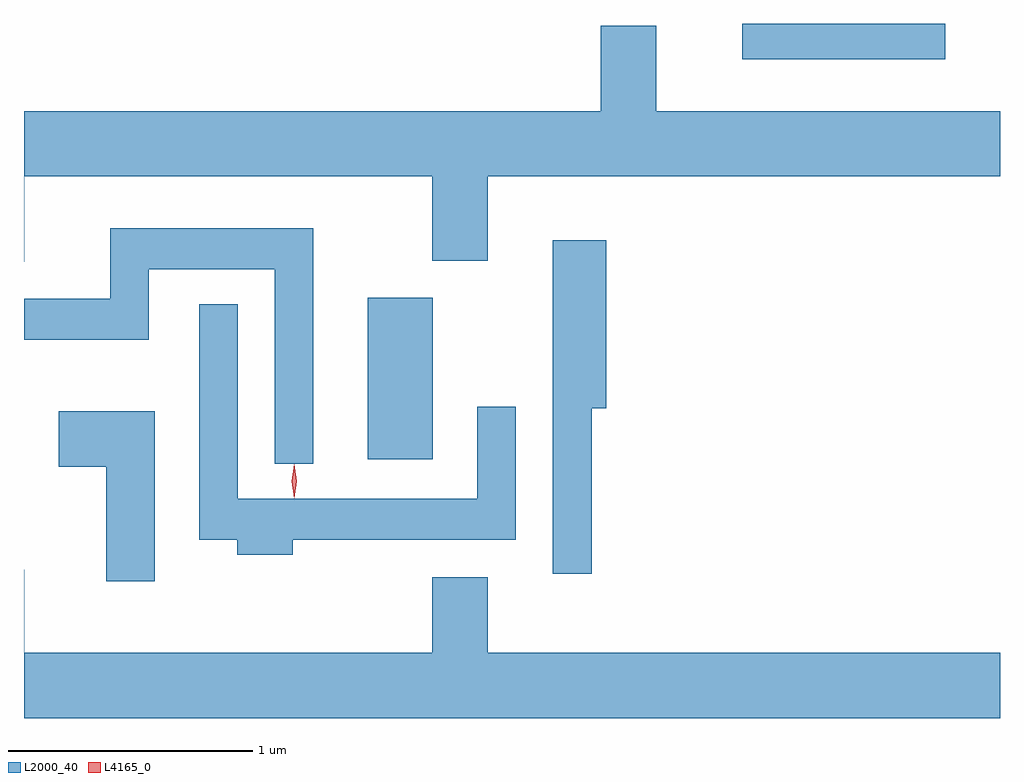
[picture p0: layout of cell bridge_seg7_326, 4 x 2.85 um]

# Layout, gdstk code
import gdstk
lib = gdstk.Library(unit=1e-6, precision=1e-09)
def R(c, l, rs):  # rectangles x0, y0, x1, y1
    for r in rs: c.add(gdstk.rectangle(r[:2], r[2:], *l))
def P(c, l, *ps):  # polygons
    for p in ps: c.add(gdstk.Polygon(p, *l))
L2000_40 = (2000, 40)
L4165_0 = (4165, 0)

bridge_seg7_326 = lib.new_cell('bridge_seg7_326')
R(bridge_seg7_326, L2000_40, [(1146.546,1744.236,1146.814,1744.899), (1148.081,1745.876,1148.914,1746.021)])
P(bridge_seg7_326, L2000_40, [(1145.139,1745.396),(1146.811,1745.396),(1146.811,1745.051),(1147.039,1745.051),(1147.039,1745.396),(1149.138,1745.396),(1149.138,1745.664),(1147.729,1745.664),(1147.729,1746.014),(1147.501,1746.014),(1147.501,1745.664),(1145.138,1745.664),(1145.138,1745.046),(1145.139,1745.046)],
  [(1146.324,1745.184),(1145.491,1745.184),(1145.491,1744.894),(1145.138,1744.894),(1145.138,1744.726),(1145.649,1744.726),(1145.649,1745.016),(1146.166,1745.016),(1146.166,1744.218),(1146.324,1744.218)],
  [(1147.464,1744.446),(1147.524,1744.446),(1147.524,1745.134),(1147.306,1745.134),(1147.306,1743.768),(1147.464,1743.768)],
  [(1146.239,1743.906),(1147.154,1743.906),(1147.154,1744.453),(1146.996,1744.453),(1146.996,1744.074),(1146.014,1744.074),(1146.014,1744.873),(1145.856,1744.873),(1145.856,1743.906),(1146.011,1743.906),(1146.011,1743.846),(1146.239,1743.846)],
  [(1145.674,1744.434),(1145.281,1744.434),(1145.281,1744.206),(1145.476,1744.206),(1145.476,1743.736),(1145.674,1743.736)],
  [(1149.138,1743.444),(1147.039,1743.444),(1147.039,1743.754),(1146.811,1743.754),(1146.811,1743.444),(1145.139,1743.444),(1145.139,1743.784),(1145.138,1743.784),(1145.138,1743.176),(1149.138,1743.176)])
P(bridge_seg7_326, L4165_0, [(1146.245,1744.077),(1146.245,1744.078),(1146.235,1744.147),(1146.245,1744.216),(1146.245,1744.216),(1146.246,1744.216),(1146.255,1744.147),(1146.246,1744.078)],
  [(1146.245,1744.079),(1146.245,1744.08),(1146.235,1744.146),(1146.245,1744.212),(1146.245,1744.213),(1146.246,1744.212),(1146.255,1744.146),(1146.246,1744.08)])

lib.write_gds('bridge_seg7_326.gds')
